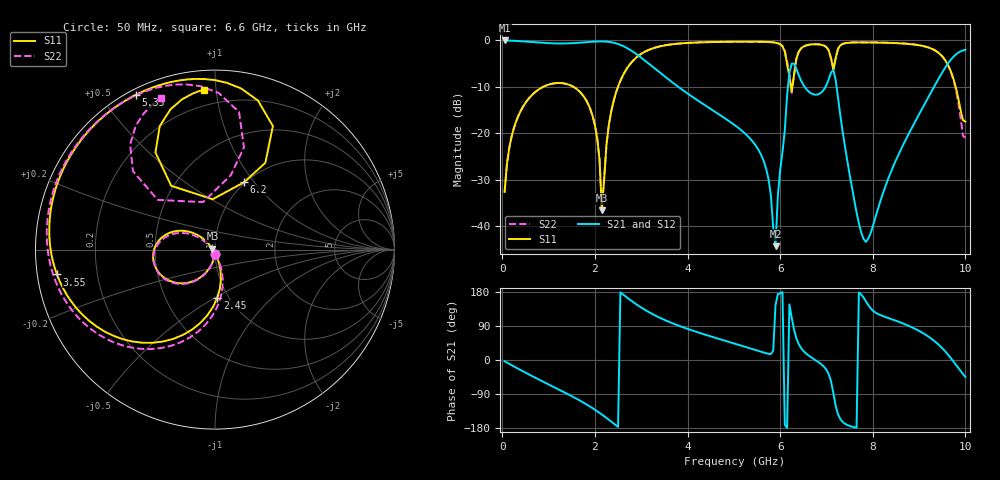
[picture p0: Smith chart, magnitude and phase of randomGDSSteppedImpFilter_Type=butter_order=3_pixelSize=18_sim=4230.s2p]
! freq	dB(S11)	phase(S11)	dB(S12)	phase(S12)
!  dB(S21)	phase(S21)	dB(S22)	phase(S22)
!S-par simulation data
#  GHz  S  DB  R 50
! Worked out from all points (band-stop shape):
!   200 points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, 50 MHz to 10 GHz, reference 50 ohm
!   highest |S21| = -0.01 dB at 50 MHz (marker M1); lowest = -44.3 dB at 5.9 GHz (marker M2)
!   |S21| within 3 dB of the highest: start of sweep to 2.905 GHz; 9.797 GHz to end of sweep
!   lowest |S11| = -36.6 dB at 2.15 GHz (marker M3), VSWR 1.03, Z = 48.6 + j0.422 ohm
!   |S11| at or under -10 dB: start of sweep to 881.6 MHz; 1.538 GHz to 2.498 GHz (959.4 MHz wide, 47.5 % of centre); 9.789 GHz to end of sweep (the widest 3 of 4)
!   |S22| runs from -35.9 to -0.3 dB; largest |S21 - S12| = 0
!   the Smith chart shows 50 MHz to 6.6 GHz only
!   S11 on the Smith chart (normalised r, x): 50 MHz: 1.00, -0.05; 2.45 GHz: 0.89, -0.51; 3.55 GHz: 0.06, -0.08; 5.35 GHz: 0.02, +0.61; 6.2 GHz: 0.99, +0.89; 6.6 GHz: 0.10, +0.93
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0.05  -32.57 -93.3  -0.01 -3.4  -0.01 -3.4  -32.57 -93.2
0.55  -12.77 -127.6  -0.28 -36.6  -0.28 -36.6  -12.77 -126.6
1.75  -11.93 156.7  -0.44 -112.2  -0.44 -112.2  -11.94 160.1
2.05  -21.05 137.2  -0.23 -135.3  -0.23 -135.3  -21.05 142.1
2.15  -36.56 163.0  -0.22 -143.9  -0.22 -143.9  -35.91 172.8
2.45  -11.41 -87.3  -0.62 -171.9  -0.62 -171.9  -11.40 -83.3
3.4  -1.29 -162.8  -6.91 111.6  -6.91 111.6  -1.28 -156.4
3.55  -1.00 -171.1  -8.10 103.3  -8.10 103.3  -0.99 -164.3
5.05  -0.28 128.2  -18.45 42.2  -18.45 42.2  -0.28 139.0
5.35  -0.28 117.1  -21.10 31.1  -21.10 31.1  -0.27 128.8
5.7  -0.32 102.1  -27.70 17.7  -27.70 17.7  -0.32 115.0
5.9  -0.49 90.2  -44.26 144.6  -44.26 144.6  -0.48 103.9
6.2  -7.80 66.7  -6.96 146.7  -6.96 146.7  -7.45 78.0
6.35  -3.95 121.5  -6.11 57.4  -6.11 57.4  -3.99 136.3
6.6  -0.98 94.0  -10.87 13.2  -10.87 13.2  -0.97 109.5
6.7  -0.85 87.2  -11.54 4.6  -11.54 4.6  -0.84 103.0
7.15  -6.36 73.5  -6.36 -87.8  -6.36 -87.8  -6.18 90.6
7.3  -1.06 80.3  -16.18 -155.9  -16.18 -155.9  -1.04 97.6
7.85  -0.43 48.0  -43.34 155.4  -43.34 155.4  -0.42 67.0
8.35  -0.53 25.6  -29.33 110.2  -29.33 110.2  -0.50 45.8
9.5  -3.43 -49.1  -6.89 31.2  -6.89 31.2  -3.43 -30.2
10  -17.46 -28.4  -2.02 -44.9  -2.02 -44.9  -20.92 -0.0
